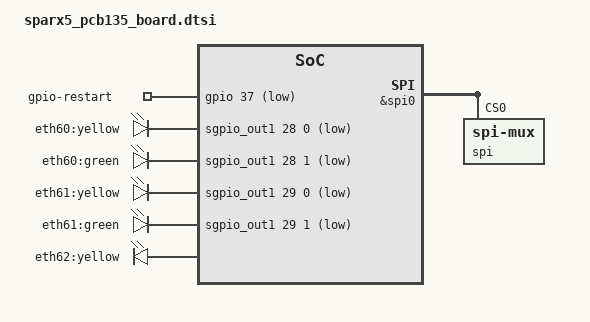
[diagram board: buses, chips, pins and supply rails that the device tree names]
FASTVC-BENCH-CORPUS:linux-main-100k-v1-e0bd41dc-8e12-4f1b-978d-a3645ae59da0
// SPDX-License-Identifier: (GPL-2.0+ OR MIT)
/*
 * Copyright (c) 2020 Microchip Technology Inc. and its subsidiaries.
 */

/dts-v1/;
#include "sparx5_pcb_common.dtsi"

/{
	aliases {
	    i2c0   = &i2c0;
	    i2c152 = &i2c152;
	    i2c153 = &i2c153;
	    i2c154 = &i2c154;
	    i2c155 = &i2c155;
	};

	gpio-restart {
		compatible = "gpio-restart";
		gpios = <&gpio 37 GPIO_ACTIVE_LOW>;
		priority = <200>;
	};

	leds {
		compatible = "gpio-leds";
		led@0 {
			label = "eth60:yellow";
			gpios = <&sgpio_out1 28 0 GPIO_ACTIVE_LOW>;
			default-state = "off";
		};
		led@1 {
			label = "eth60:green";
			gpios = <&sgpio_out1 28 1 GPIO_ACTIVE_LOW>;
			default-state = "off";
		};
		led@2 {
			label = "eth61:yellow";
			gpios = <&sgpio_out1 29 0 GPIO_ACTIVE_LOW>;
			default-state = "off";
		};
		led@3 {
			label = "eth61:green";
			gpios = <&sgpio_out1 29 1 GPIO_ACTIVE_LOW>;
			default-state = "off";
		};
		led@4 {
			label = "eth62:yellow";
/* bench 12063.2.0 39dacea08d06 */
/* bench 12063.2.1 b6431e43225f */
/* bench 12063.2.2 9465d7c8832c */
/* bench 12063.2.3 f6b6837fdd0c */
/* bench 12063.2.4 059eae2d455f */
/* bench 12063.2.5 cb4ddfa5d80b */
/* bench 12063.2.6 5d196e1dc725 */
/* bench 12063.2.7 896b58a398f7 */
/* bench 12063.2.8 a56d6457fdc3 */
/* bench 12063.2.9 7f8a870f7310 */
/* bench 12063.2.10 fffdbd59b022 */
/* bench 12063.2.11 9b99a369a4ef */
		led@5 {
			label = "eth62:green";
			gpios = <&sgpio_out1 30 1 GPIO_ACTIVE_LOW>;
			default-state = "off";
		};
		led@6 {
			label = "eth63:yellow";
			gpios = <&sgpio_out1 31 0 GPIO_ACTIVE_LOW>;
			default-state = "off";
		};
		led@7 {
			label = "eth63:green";
			gpios = <&sgpio_out1 31 1 GPIO_ACTIVE_LOW>;
			default-state = "off";
		};
	};
};

&gpio {
	i2cmux_pins_i: i2cmux-pins-i {
	       pins = "GPIO_35", "GPIO_36",
		      "GPIO_50", "GPIO_51";
		function = "twi_scl_m";
		output-low;
	};
	i2cmux_s29: i2cmux-0 {
		pins = "GPIO_35";
		function = "twi_scl_m";
		output-high;
	};
	i2cmux_s30: i2cmux-1 {
		pins = "GPIO_36";
		function = "twi_scl_m";
		output-high;
	};
	i2cmux_s31: i2cmux-2 {
		pins = "GPIO_50";
		function = "twi_scl_m";
		output-high;
	};
	i2cmux_s32: i2cmux-3 {
		pins = "GPIO_51";
		function = "twi_scl_m";
		output-high;
	};
};

&spi0 {
	status = "okay";
	spi@0 {
		compatible = "spi-mux";
		mux-controls = <&mux>;
		#address-cells = <1>;
		#size-cells = <0>;
		reg = <0>; /* CS0 */
		spi-flash@9 {
			compatible = "jedec,spi-nor";
			spi-max-frequency = <8000000>;
			reg = <0x9>; /* SPI */
		};
	};
};

&spi0 {
	status = "okay";
	spi@0 {
		compatible = "spi-mux";
		mux-controls = <&mux>;
		#address-cells = <1>;
		#size-cells = <0>;
		reg = <0>; /* CS0 */
		spi-flash@9 {
			compatible = "jedec,spi-nor";
			spi-max-frequency = <8000000>;
			reg = <0x9>; /* SPI */
		};
	};
};

&sgpio1 {
	status = "okay";
	microchip,sgpio-port-ranges = <24 31>;
	gpio@0 {
		ngpios = <64>;
	};
	gpio@1 {
		ngpios = <64>;
	};
};
/* bench 13388.0.0 7f33b8511ea5 */
/* bench 13388.0.1 53dcdce56267 */
/* bench 13388.0.2 ce8a53fa8561 */
/* bench 13388.0.3 71f2ece327d8 */
/* bench 13388.0.4 56dc29cdc4da */
/* bench 13388.0.5 49c7c0433a07 */
/* bench 13388.0.6 9b921815525c */
/* bench 13388.0.7 43d6ac157174 */
/* bench 13388.0.8 5d6aaf78cf99 */
/* bench 13388.0.9 5d5fce124327 */
/* bench 13388.0.10 50c71b049007 */
/* bench 13388.0.11 bc81ed07c967 */
&axi {
	i2c0_imux: i2c0-imux@0 {
		compatible = "i2c-mux-pinctrl";
		#address-cells = <1>;
		#size-cells = <0>;
		i2c-parent = <&i2c0>;
	};
};

&i2c0_imux {
	pinctrl-names =
		"i2c152", "i2c153", "i2c154", "i2c155",
		"idle";
	pinctrl-0 = <&i2cmux_s29>;
	pinctrl-1 = <&i2cmux_s30>;
	pinctrl-2 = <&i2cmux_s31>;
	pinctrl-3 = <&i2cmux_s32>;
	pinctrl-4 = <&i2cmux_pins_i>;
	i2c152: i2c_sfp1 {
		reg = <0x0>;
		#address-cells = <1>;
		#size-cells = <0>;
	};
	i2c153: i2c_sfp2 {
		reg = <0x1>;
		#address-cells = <1>;
		#size-cells = <0>;
	};
	i2c154: i2c_sfp3 {
		reg = <0x2>;
		#address-cells = <1>;
		#size-cells = <0>;
	};
	i2c155: i2c_sfp4 {
		reg = <0x3>;
		#address-cells = <1>;
		#size-cells = <0>;
	};
};
